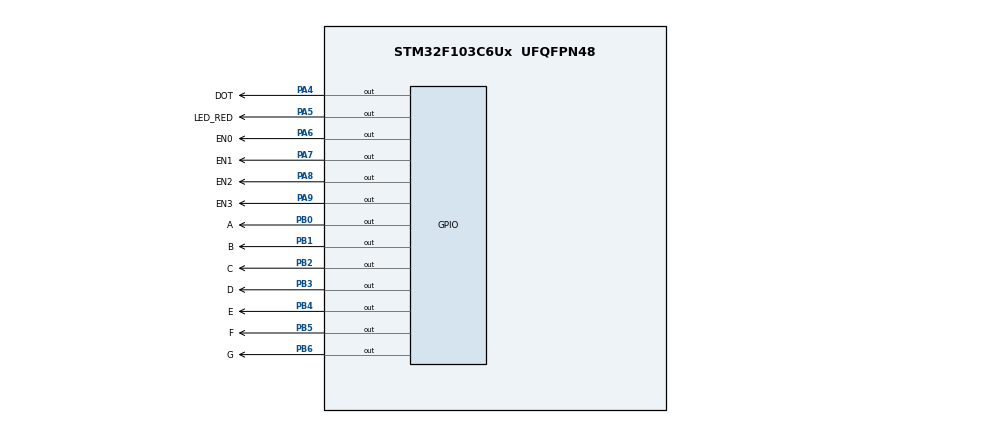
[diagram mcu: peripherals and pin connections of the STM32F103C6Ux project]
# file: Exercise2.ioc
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Mcu.Family=STM32F1
Mcu.Name=STM32F103C6Ux
Mcu.Package=UFQFPN48
NVIC.PriorityGroup=NVIC_PRIORITYGROUP_4
NVIC.TIM2_IRQn=true\:0\:0\:false\:false\:true\:true\:true
PA4.GPIO_Label=DOT
PA4.Signal=GPIO_Output
PA5.GPIO_Label=LED_RED
PA5.Signal=GPIO_Output
PA6.GPIO_Label=EN0
PA6.Signal=GPIO_Output
PA7.GPIO_Label=EN1
PA7.Signal=GPIO_Output
PA8.GPIO_Label=EN2
PA8.Signal=GPIO_Output
PA9.GPIO_Label=EN3
PA9.Signal=GPIO_Output
PB0.GPIO_Label=A
PB0.Signal=GPIO_Output
PB1.GPIO_Label=B
PB1.Signal=GPIO_Output
PB2.GPIO_Label=C
PB2.Signal=GPIO_Output
PB3.GPIO_Label=D
PB3.Signal=GPIO_Output
PB4.GPIO_Label=E
PB4.Signal=GPIO_Output
PB5.GPIO_Label=F
PB5.Signal=GPIO_Output
PB6.GPIO_Label=G
PB6.Signal=GPIO_Output
ProjectManager.HeapSize=0x200
ProjectManager.StackSize=0x400
ProjectManager.TargetToolchain=STM32CubeIDE
RCC.APB1Freq_Value=8000000
RCC.APB2Freq_Value=8000000
TIM2.Period=9
TIM2.Prescaler=7999
VP_SYS_VS_ND.Mode=No_Debug
VP_TIM2_VS_ClockSourceINT.Mode=Internal
board=custom

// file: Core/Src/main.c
/* USER CODE BEGIN Header */
/**
  ******************************************************************************
  * @file           : main.c
  * @brief          : Main program body
  ******************************************************************************
  * @attention
  *
  * <h2><center>&copy; Copyright (c) 2025 STMicroelectronics.
  * All rights reserved.</center></h2>
  *
  * This software component is licensed by ST under BSD 3-Clause license,
  * the "License"; You may not use this file except in compliance with the
  * License. You may obtain a copy of the License at:
  *                        opensource.org/licenses/BSD-3-Clause
  *
  ******************************************************************************
  */
/* USER CODE END Header */
#include "main.h"

/* USER CODE BEGIN Includes */
#include "software_timer.h"
/* USER CODE END Includes */

TIM_HandleTypeDef htim2;

void SystemClock_Config(void);
static void MX_GPIO_Init(void);
static void MX_TIM2_Init(void);

uint8_t segmentBinary[10] = {
	0b00111111, // 0
	0b00000110, // 1
	0b01011011, // 2
	0b01001111, // 3
	0b01100110, // 4
	0b01101101, // 5
	0b01111101, // 6
	0b00000111, // 7
	0b01111111, // 8
	0b01101111  // 9
};
void display7SEG(int num) {
	uint8_t display = segmentBinary[num];

	HAL_GPIO_WritePin(A_GPIO_Port, A_Pin, (display & 0b00000001) ? RESET : SET);
	HAL_GPIO_WritePin(B_GPIO_Port, B_Pin, (display & 0b00000010) ? RESET : SET);
	HAL_GPIO_WritePin(C_GPIO_Port, C_Pin, (display & 0b00000100) ? RESET : SET);
	HAL_GPIO_WritePin(D_GPIO_Port, D_Pin, (display & 0b00001000) ? RESET : SET);
	HAL_GPIO_WritePin(E_GPIO_Port, E_Pin, (display & 0b00010000) ? RESET : SET);
	HAL_GPIO_WritePin(F_GPIO_Port, F_Pin, (display & 0b00100000) ? RESET : SET);
	HAL_GPIO_WritePin(G_GPIO_Port, G_Pin, (display & 0b01000000) ? RESET : SET);
}
void enable7SEG(int state) {
	HAL_GPIO_WritePin(EN0_GPIO_Port, EN0_Pin, SET);
	HAL_GPIO_WritePin(EN1_GPIO_Port, EN1_Pin, SET);
	HAL_GPIO_WritePin(EN2_GPIO_Port, EN2_Pin, SET);
	HAL_GPIO_WritePin(EN3_GPIO_Port, EN3_Pin, SET);

	switch (state) {
		case 0:
			HAL_GPIO_WritePin(EN0_GPIO_Port, EN0_Pin, RESET);
			break;
		case 1:
			HAL_GPIO_WritePin(EN1_GPIO_Port, EN1_Pin, RESET);
			break;
		case 2:
			HAL_GPIO_WritePin(EN2_GPIO_Port, EN2_Pin, RESET);
			break;
		case 3:
			HAL_GPIO_WritePin(EN3_GPIO_Port, EN3_Pin, RESET);
			break;
		default:
			break;
	}
}

int segmentState = 0; // 0 for LED1, 1 for LED2, 2 for LED3 & 3 for LED4

int main(void)
{

  /* MCU Configuration--------------------------------------------------------*/

  /* Reset of all peripherals, Initializes the Flash interface and the Systick. */
  HAL_Init();

  /* Configure the system clock */
  SystemClock_Config();

  /* Initialize all configured peripherals */
  MX_GPIO_Init();
  MX_TIM2_Init();
  /* USER CODE BEGIN 2 */
  HAL_TIM_Base_Start_IT(&htim2);
  /* USER CODE END 2 */

  /* Infinite loop */
  /* USER CODE BEGIN WHILE */
  setTimer1(100);
  setTimer2(50);
  setTimer3(100);
  while (1)
  {
    /* USER CODE END WHILE */

  }
}

void SystemClock_Config(void)
{
  RCC_OscInitTypeDef RCC_OscInitStruct = {0};
  RCC_ClkInitTypeDef RCC_ClkInitStruct = {0};

  /** Initializes the RCC Oscillators according to the specified parameters
  * in the RCC_OscInitTypeDef structure.
  */
  RCC_OscInitStruct.OscillatorType = RCC_OSCILLATORTYPE_HSI;
  RCC_OscInitStruct.HSIState = RCC_HSI_ON;
  RCC_OscInitStruct.HSICalibrationValue = RCC_HSICALIBRATION_DEFAULT;
  RCC_OscInitStruct.PLL.PLLState = RCC_PLL_NONE;
  if (HAL_RCC_OscConfig(&RCC_OscInitStruct) != HAL_OK)
  {
    Error_Handler();
  }
  /** Initializes the CPU, AHB and APB buses clocks
  */
  RCC_ClkInitStruct.ClockType = RCC_CLOCKTYPE_HCLK|RCC_CLOCKTYPE_SYSCLK
                              |RCC_CLOCKTYPE_PCLK1|RCC_CLOCKTYPE_PCLK2;
  RCC_ClkInitStruct.SYSCLKSource = RCC_SYSCLKSOURCE_HSI;
  RCC_ClkInitStruct.AHBCLKDivider = RCC_SYSCLK_DIV1;
  RCC_ClkInitStruct.APB1CLKDivider = RCC_HCLK_DIV1;
  RCC_ClkInitStruct.APB2CLKDivider = RCC_HCLK_DIV1;

  if (HAL_RCC_ClockConfig(&RCC_ClkInitStruct, FLASH_LATENCY_0) != HAL_OK)
  {
    Error_Handler();
  }
}

static void MX_TIM2_Init(void)
{

  TIM_ClockConfigTypeDef sClockSourceConfig = {0};
  TIM_MasterConfigTypeDef sMasterConfig = {0};

  htim2.Instance = TIM2;
  htim2.Init.Prescaler = 7999;
  htim2.Init.CounterMode = TIM_COUNTERMODE_UP;
  htim2.Init.Period = 9;
  htim2.Init.ClockDivision = TIM_CLOCKDIVISION_DIV1;
  htim2.Init.AutoReloadPreload = TIM_AUTORELOAD_PRELOAD_DISABLE;
  if (HAL_TIM_Base_Init(&htim2) != HAL_OK)
  {
    Error_Handler();
  }
  sClockSourceConfig.ClockSource = TIM_CLOCKSOURCE_INTERNAL;
  if (HAL_TIM_ConfigClockSource(&htim2, &sClockSourceConfig) != HAL_OK)
  {
    Error_Handler();
  }
  sMasterConfig.MasterOutputTrigger = TIM_TRGO_RESET;
  sMasterConfig.MasterSlaveMode = TIM_MASTERSLAVEMODE_DISABLE;
  if (HAL_TIMEx_MasterConfigSynchronization(&htim2, &sMasterConfig) != HAL_OK)
  {
    Error_Handler();
  }

}

static void MX_GPIO_Init(void)
{
  GPIO_InitTypeDef GPIO_InitStruct = {0};

  /* GPIO Ports Clock Enable */
  __HAL_RCC_GPIOA_CLK_ENABLE();
  __HAL_RCC_GPIOB_CLK_ENABLE();

  /*Configure GPIO pin Output Level */
  HAL_GPIO_WritePin(GPIOA, DOT_Pin|LED_RED_Pin|EN0_Pin|EN1_Pin
                          |EN2_Pin|EN3_Pin, GPIO_PIN_RESET);

  /*Configure GPIO pin Output Level */
  HAL_GPIO_WritePin(GPIOB, A_Pin|B_Pin|C_Pin|D_Pin
                          |E_Pin|F_Pin|G_Pin, GPIO_PIN_RESET);

  /*Configure GPIO pins : DOT_Pin LED_RED_Pin EN0_Pin EN1_Pin
                           EN2_Pin EN3_Pin */
  GPIO_InitStruct.Pin = DOT_Pin|LED_RED_Pin|EN0_Pin|EN1_Pin
                          |EN2_Pin|EN3_Pin;
  GPIO_InitStruct.Mode = GPIO_MODE_OUTPUT_PP;
  GPIO_InitStruct.Pull = GPIO_NOPULL;
  GPIO_InitStruct.Speed = GPIO_SPEED_FREQ_LOW;
  HAL_GPIO_Init(GPIOA, &GPIO_InitStruct);

  /*Configure GPIO pins : A_Pin B_Pin C_Pin D_Pin
                           E_Pin F_Pin G_Pin */
  GPIO_InitStruct.Pin = A_Pin|B_Pin|C_Pin|D_Pin
                          |E_Pin|F_Pin|G_Pin;
  GPIO_InitStruct.Mode = GPIO_MODE_OUTPUT_PP;
  GPIO_InitStruct.Pull = GPIO_NOPULL;
  GPIO_InitStruct.Speed = GPIO_SPEED_FREQ_LOW;
  HAL_GPIO_Init(GPIOB, &GPIO_InitStruct);

}

/* USER CODE BEGIN 4 */
void HAL_TIM_PeriodElapsedCallback(TIM_HandleTypeDef *htim) {
	timerRun();

	if (timer1_flag == 1) {
		setTimer1(100);
		HAL_GPIO_TogglePin(LED_RED_GPIO_Port, LED_RED_Pin);
	}

	if (timer2_flag == 1) {
		setTimer2(50);

		if (segmentState == 0) {
			display7SEG(1);
			enable7SEG(0);
			segmentState = 1;
		}
		else if (segmentState == 1) {
			display7SEG(2);
			enable7SEG(1);
			segmentState = 2;
		}
		else if (segmentState == 2) {
			display7SEG(3);
			enable7SEG(2);
			segmentState = 3;
		}
		else if (segmentState == 3) {
			display7SEG(0);
			enable7SEG(3);
			segmentState = 0;
		}
	}

	if (timer3_flag == 1) {
		setTimer3(100);
		HAL_GPIO_TogglePin(DOT_GPIO_Port, DOT_Pin);
	}
}
/* USER CODE END 4 */

void Error_Handler(void)
{
  __disable_irq();
  while (1)
  {
  }
}

/************************ (C) COPYRIGHT STMicroelectronics *****END OF FILE****/
